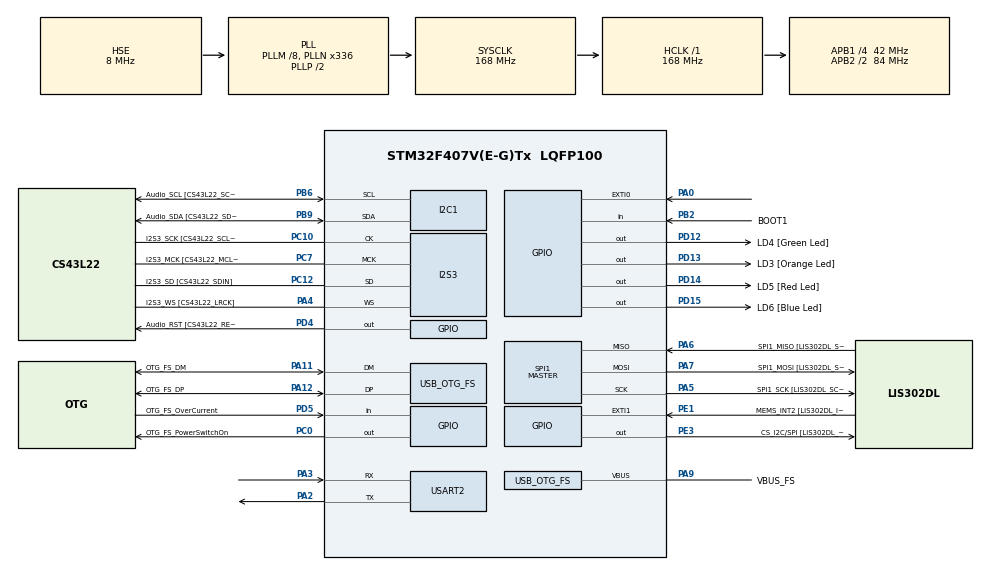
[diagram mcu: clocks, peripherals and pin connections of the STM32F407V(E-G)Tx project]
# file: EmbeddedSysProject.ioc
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I2S3.AudioFreq-Half_Duplex_Master=I2S_AUDIOFREQ_96K
I2S3.ErrorAudioFreq=-2.34 %
I2S3.ErrorAudioFreq-Half_Duplex_Master=0.8 %
I2S3.FullDuplexMode=I2S_FULLDUPLEXMODE_DISABLE
I2S3.Instance=SPI$Index
I2S3.RealAudioFreq=93.75 KHz
I2S3.RealAudioFreq-Half_Duplex_Master=96.774 KHz
I2S3.VirtualMode=I2S_MODE_MASTER
Mcu.Family=STM32F4
Mcu.Name=STM32F407V(E-G)Tx
Mcu.Package=LQFP100
NVIC.EXTI0_IRQn=true\:5\:0\:true\:false\:true\:true\:true\:true
NVIC.OTG_FS_IRQn=true\:0\:0\:false\:false\:true\:true\:true\:true
NVIC.PriorityGroup=NVIC_PRIORITYGROUP_4
NVIC.TimeBase=TIM7_IRQn
NVIC.TimeBaseIP=TIM7
PA0-WKUP.Signal=GPXTI0
PA10.GPIO_Label=OTG_FS_ID
PA10.GPIO_Mode=GPIO_MODE_AF_PP
PA10.GPIO_PuPd=GPIO_NOPULL
PA10.GPIO_Speed=GPIO_SPEED_FREQ_LOW
PA10.Signal=USB_OTG_FS_ID
PA11.GPIO_Label=OTG_FS_DM
PA11.GPIO_Mode=GPIO_MODE_AF_PP
PA11.GPIO_PuPd=GPIO_NOPULL
PA11.GPIO_Speed=GPIO_SPEED_FREQ_LOW
PA11.Mode=Host_Only
PA11.Signal=USB_OTG_FS_DM
PA12.GPIO_Label=OTG_FS_DP
PA12.GPIO_Mode=GPIO_MODE_AF_PP
PA12.GPIO_PuPd=GPIO_NOPULL
PA12.GPIO_Speed=GPIO_SPEED_FREQ_LOW
PA12.Mode=Host_Only
PA12.Signal=USB_OTG_FS_DP
PA13.GPIO_Label=SWDIO
PA13.Signal=SYS_JTMS-SWDIO
PA14.GPIO_Label=SWCLK
PA14.Signal=SYS_JTCK-SWCLK
PA2.Mode=Asynchronous
PA2.Signal=USART2_TX
PA3.Mode=Asynchronous
PA3.Signal=USART2_RX
PA4.GPIO_Label=I2S3_WS [CS43L22_LRCK]
PA4.GPIO_Mode=GPIO_MODE_AF_PP
PA4.GPIO_PuPd=GPIO_NOPULL
PA4.GPIO_Speed=GPIO_SPEED_FREQ_LOW
PA4.Mode=Half_Duplex_Master
PA4.Signal=I2S3_WS
PA5.GPIO_Label=SPI1_SCK [LIS302DL_SCL/SPC]
PA5.GPIO_Mode=GPIO_MODE_AF_PP
PA5.GPIO_PuPd=GPIO_NOPULL
PA5.GPIO_Speed=GPIO_SPEED_FREQ_LOW
PA5.Mode=Full_Duplex_Master
PA5.Signal=SPI1_SCK
PA6.GPIO_Label=SPI1_MISO [LIS302DL_SDO]
PA6.GPIO_Mode=GPIO_MODE_AF_PP
PA6.GPIO_PuPd=GPIO_NOPULL
PA6.GPIO_Speed=GPIO_SPEED_FREQ_LOW
PA6.Mode=Full_Duplex_Master
PA6.Signal=SPI1_MISO
PA7.GPIO_Label=SPI1_MOSI [LIS302DL_SDA/SDI/SDO]
PA7.GPIO_Mode=GPIO_MODE_AF_PP
PA7.GPIO_PuPd=GPIO_NOPULL
PA7.GPIO_Speed=GPIO_SPEED_FREQ_LOW
PA7.Mode=Full_Duplex_Master
PA7.Signal=SPI1_MOSI
PA9.GPIO_Label=VBUS_FS
PA9.GPIO_Mode=GPIO_MODE_INPUT
PA9.GPIO_PuPd=GPIO_NOPULL
PA9.Mode=Activate_VBUS
PA9.Signal=USB_OTG_FS_VBUS
PB10.GPIO_Label=CLK_IN [MP45DT02_CLK]
PB10.GPIO_Mode=GPIO_MODE_AF_PP
PB10.GPIO_PuPd=GPIO_NOPULL
PB10.GPIO_Speed=GPIO_SPEED_FREQ_LOW
PB10.Signal=I2S2_CK
PB2.GPIO_Label=BOOT1
PB2.GPIO_Mode=GPIO_MODE_INPUT
PB2.GPIO_PuPd=GPIO_NOPULL
PB2.Signal=GPIO_Input
PB3.GPIO_Label=SWO
PB3.Signal=SYS_JTDO-SWO
PB6.GPIO_Label=Audio_SCL [CS43L22_SCL]
PB6.GPIO_Mode=GPIO_MODE_AF_OD
PB6.GPIO_Pu=GPIO_PULLUP
PB6.GPIO_PuPd=GPIO_NOPULL
PB6.GPIO_Speed=GPIO_SPEED_FREQ_LOW
PB6.Mode=I2C
PB6.Signal=I2C1_SCL
PB9.GPIO_Label=Audio_SDA [CS43L22_SDA]
PB9.GPIO_Mode=GPIO_MODE_AF_OD
PB9.GPIO_Pu=GPIO_PULLUP
PB9.GPIO_PuPd=GPIO_NOPULL
PB9.GPIO_Speed=GPIO_SPEED_FREQ_LOW
PB9.Mode=I2C
PB9.Signal=I2C1_SDA
PC0.GPIO_Label=OTG_FS_PowerSwitchOn
PC0.GPIO_PuPd=GPIO_NOPULL
PC0.GPIO_Speed=GPIO_SPEED_FREQ_LOW
PC0.PinState=GPIO_PIN_SET
PC0.Signal=GPIO_Output
PC10.GPIO_Label=I2S3_SCK [CS43L22_SCLK]
PC10.GPIO_Mode=GPIO_MODE_AF_PP
PC10.GPIO_PuPd=GPIO_NOPULL
PC10.GPIO_Speed=GPIO_SPEED_FREQ_LOW
PC10.Mode=Half_Duplex_Master
PC10.Signal=I2S3_CK
PC12.GPIO_Label=I2S3_SD [CS43L22_SDIN]
PC12.GPIO_Mode=GPIO_MODE_AF_PP
PC12.GPIO_PuPd=GPIO_NOPULL
PC12.GPIO_Speed=GPIO_SPEED_FREQ_LOW
PC12.Mode=Half_Duplex_Master
PC12.Signal=I2S3_SD
PC14-OSC32_IN.GPIO_Label=PC14-OSC32_IN
PC14-OSC32_IN.Mode=LSE-External-Oscillator
PC14-OSC32_IN.Signal=RCC_OSC32_IN
PC15-OSC32_OUT.GPIO_Label=PC15-OSC32_OUT
PC15-OSC32_OUT.Mode=LSE-External-Oscillator
PC15-OSC32_OUT.Signal=RCC_OSC32_OUT
PC3.GPIO_Label=PDM_OUT [MP45DT02_DOUT]
PC3.GPIO_Mode=GPIO_MODE_AF_PP
PC3.GPIO_PuPd=GPIO_NOPULL
PC3.GPIO_Speed=GPIO_SPEED_FREQ_LOW
PC3.Signal=I2S2_SD
PC7.GPIO_Label=I2S3_MCK [CS43L22_MCLK]
PC7.GPIO_Mode=GPIO_MODE_AF_PP
PC7.GPIO_PuPd=GPIO_NOPULL
PC7.GPIO_Speed=GPIO_SPEED_FREQ_LOW
PC7.Mode=Master_Clock_Activated
PC7.Signal=I2S3_MCK
PD12.GPIO_Label=LD4 [Green Led]
PD12.GPIO_PuPd=GPIO_NOPULL
PD12.GPIO_Speed=GPIO_SPEED_FREQ_LOW
PD12.Signal=GPIO_Output
PD13.GPIO_Label=LD3 [Orange Led]
PD13.GPIO_PuPd=GPIO_NOPULL
PD13.GPIO_Speed=GPIO_SPEED_FREQ_LOW
PD13.Signal=GPIO_Output
PD14.GPIO_Label=LD5 [Red Led]
PD14.GPIO_PuPd=GPIO_NOPULL
PD14.GPIO_Speed=GPIO_SPEED_FREQ_LOW
PD14.Signal=GPIO_Output
PD15.GPIO_Label=LD6 [Blue Led]
PD15.GPIO_PuPd=GPIO_NOPULL
PD15.GPIO_Speed=GPIO_SPEED_FREQ_LOW
PD15.Signal=GPIO_Output
PD4.GPIO_Label=Audio_RST [CS43L22_RESET]
PD4.GPIO_PuPd=GPIO_NOPULL
PD4.GPIO_Speed=GPIO_SPEED_FREQ_LOW
PD4.Signal=GPIO_Output
PD5.GPIO_Label=OTG_FS_OverCurrent
PD5.GPIO_Mode=GPIO_MODE_INPUT
PD5.GPIO_PuPd=GPIO_NOPULL
PD5.Signal=GPIO_Input
PE1.GPIO_Label=MEMS_INT2 [LIS302DL_INT2]
PE1.GPIO_ModeDefaultEXTI=GPIO_MODE_EVT_RISING
PE1.GPIO_PuPd=GPIO_NOPULL
PE1.Signal=GPXTI1
PE3.GPIO_Label=CS_I2C/SPI [LIS302DL_CS_I2C/SPI]
PE3.GPIO_PuPd=GPIO_NOPULL
PE3.GPIO_Speed=GPIO_SPEED_FREQ_LOW
PE3.Signal=GPIO_Output
PH0-OSC_IN.GPIO_Label=PH0-OSC_IN
PH0-OSC_IN.Mode=HSE-External-Oscillator
PH0-OSC_IN.Signal=RCC_OSC_IN
PH1-OSC_OUT.GPIO_Label=PH1-OSC_OUT
PH1-OSC_OUT.Mode=HSE-External-Oscillator
PH1-OSC_OUT.Signal=RCC_OSC_OUT
ProjectManager.HeapSize=0x200
ProjectManager.StackSize=0x400
ProjectManager.TargetToolchain=STM32CubeIDE
RCC.48MHZClocksFreq_Value=48000000
RCC.AHBFreq_Value=168000000
RCC.APB1CLKDivider=RCC_HCLK_DIV4
RCC.APB1Freq_Value=42000000
RCC.APB1TimFreq_Value=84000000
RCC.APB2CLKDivider=RCC_HCLK_DIV2
RCC.APB2Freq_Value=84000000
RCC.APB2TimFreq_Value=168000000
RCC.CortexFreq_Value=168000000
RCC.HCLKFreq_Value=168000000
RCC.HSE_VALUE=8000000
RCC.HSI_VALUE=16000000
RCC.PLLM=8
RCC.PLLN=336
RCC.PLLQ=7
RCC.SYSCLKFreq_VALUE=168000000
RCC.SYSCLKSource=RCC_SYSCLKSOURCE_PLLCLK
RCC.VCOOutputFreq_Value=336000000
SPI1.BaudRatePrescaler-Full_Duplex_Master=SPI_BAUDRATEPRESCALER_2
SPI1.CalculateBaudRate-Full_Duplex_Master=42.0 MBits/s
SPI1.Direction=SPI_DIRECTION_2LINES
SPI1.Mode=SPI_MODE_MASTER
SPI1.Mode-Full_Duplex_Master=SPI_MODE_MASTER
SPI1.VirtualType=VM_MASTER
USART2.VirtualMode=VM_ASYNC
USB_HOST.BSP.number=1
USB_HOST.USBH_HandleTypeDef-CDC_FS=hUsbHostFS
USB_HOST.VirtualModeFS=Cdc
USB_HOST0.BSP.STBoard=false
USB_HOST0.BSP.api=Unknown
USB_HOST0.BSP.instance=PC0
USB_HOST0.BSP.ip=GPIO
USB_HOST0.BSP.mode=Output
USB_HOST0.BSP.name=Drive_VBUS_FS
USB_HOST0.BSP.solution=PC0
USB_OTG_FS.VirtualMode=Host_Only
USB_OTG_FS.phy_itface=HCD_PHY_EMBEDDED
VP_SYS_VS_tim7.Mode=TIM7
VP_USB_HOST_VS_USB_HOST_CDC_FS.Mode=CDC_FS
board=STM32F407G-DISC1

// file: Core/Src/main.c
/* USER CODE BEGIN Header */
/**
  ******************************************************************************
  * @file           : main.c
  * @brief          : Main program body
  ******************************************************************************
  * @attention
  *
  * Copyright (c) 2026 STMicroelectronics.
  * All rights reserved.
  *
  * This software is licensed under terms that can be found in the LICENSE file
  * in the root directory of this software component.
  * If no LICENSE file comes with this software, it is provided AS-IS.
  *
  ******************************************************************************
  */
/* USER CODE END Header */
#include "main.h"
#include "usb_host.h"

/* USER CODE BEGIN Includes */
#include "FreeRTOS.h"
#include "task.h"
/* USER CODE END Includes */

I2C_HandleTypeDef hi2c1;

I2S_HandleTypeDef hi2s3;

SPI_HandleTypeDef hspi1;

UART_HandleTypeDef huart2;

/* USER CODE BEGIN PV */
TaskHandle_t xControlTaskHandle = NULL;
/* USER CODE END PV */

void SystemClock_Config(void);
static void MX_GPIO_Init(void);
static void MX_I2C1_Init(void);
static void MX_I2S3_Init(void);
static void MX_SPI1_Init(void);
static void MX_USART2_UART_Init(void);
void MX_USB_HOST_Process(void);

/* USER CODE BEGIN 0 */
void vControlTask(void *pvParameters);
void DWT_Init(void) {
    /* 1. 啟用 TRCENA (Trace Enable) */
    *(volatile uint32_t *)0xE000EDFC |= (1 << 24);

    /* 2. 將計數器歸零 */
    *(volatile uint32_t *)0xE0001004 = 0;

    /* 3. 啟用 Cycle Counter */
    *(volatile uint32_t *)0xE0001000 |= 1;
}
extern void vSetTaskCustomParams(TaskHandle_t xTask, TickType_t xPeriod, uint32_t ulTickets);
extern void vTaskUpdateDeadline(TaskHandle_t xTask, TickType_t xNextDeadline);
extern volatile uint8_t ucCurrentScheduler;
extern void Taskmonitor(void);
/* 任務參數結構 */
typedef struct {
    TickType_t xPeriod;
    uint32_t ulTickets;
    uint32_t ulWorkload_us; /* 模擬執行的時間 (微秒) */
} TaskParams_t;

TaskParams_t xTaskAParams = { .xPeriod = 10,  .ulTickets = 10,  .ulWorkload_us = 2000 }; // 2ms 工作
TaskParams_t xTaskBParams = { .xPeriod = 50,  .ulTickets = 50,  .ulWorkload_us = 5000 }; // 5ms 工作
TaskParams_t xTaskCParams = { .xPeriod = 100, .ulTickets = 100, .ulWorkload_us = 10000 };// 10ms 工作

/* 通用的測試任務架構 */
void vGenericTestTask(void *pvParameters)
{
    TaskParams_t *pxParams = (TaskParams_t *)pvParameters;
    TaskHandle_t xHandle = xTaskGetCurrentTaskHandle();

    /* 1. 初始化擴展參數 */
    vSetTaskCustomParams(xHandle, pxParams->xPeriod, pxParams->ulTickets);

    TickType_t xLastWakeTime = xTaskGetTickCount();

    for( ;; )
    {
        /* 2. 模擬 CPU 繁重運算 (利用 DWT 計時，不產生 Block，純吃 CPU) */
        uint32_t ulStartCycle = DWT->CYCCNT;
        /* 將微秒轉換為 CPU Cycles (假設 SystemCoreClock 為 168MHz，依您的硬體修改) */
        uint32_t ulTargetCycles = pxParams->ulWorkload_us * (SystemCoreClock / 1000000);

        while( (DWT->CYCCNT - ulStartCycle) < ulTargetCycles )
        {
            __NOP(); // Busy wait
        }

        /* 3. 計算並更新下一次的絕對 Deadline */
        TickType_t xNextDeadline = xLastWakeTime + pxParams->xPeriod;
        vTaskUpdateDeadline(xHandle, xNextDeadline);

        /* 4. 精準延遲並進入 Blocked 狀態 */
        vTaskDelayUntil(&xLastWakeTime, pxParams->xPeriod);
    }
}
/* 在 main.c 上方宣告 */
extern void vRecalculateRMSPriorities( void );
extern void vRebuildEDFTreap( void );

/* 按鈕中斷服務常式 */
void HAL_GPIO_EXTI_Callback(uint16_t GPIO_Pin)
{
    /* 這裡改成 GPIO_PIN_0，也就是 PA0 */
    if( GPIO_Pin == GPIO_PIN_0 )
    {
        BaseType_t xHigherPriorityTaskWoken = pdFALSE;

        if( ( xControlTaskHandle != NULL ) &&
            ( xTaskGetSchedulerState() == taskSCHEDULER_RUNNING ) )
        {
            HAL_NVIC_DisableIRQ(EXTI0_IRQn);
            vTaskNotifyGiveFromISR( xControlTaskHandle, &xHigherPriorityTaskWoken );
            portYIELD_FROM_ISR( xHigherPriorityTaskWoken );
        }
    }
}
void vSystemPrint(const char *pcString)
{
    HAL_UART_Transmit(&huart2, (uint8_t *)pcString, strlen(pcString), HAL_MAX_DELAY);
}
void vMonitorTask(void *pvParameters)
{
    for( ;; )
    {
        /* 呼叫我們實作好的監聽函式 */
        Taskmonitor();

        /* 休息 2 秒鐘 (2000 個 SysTick) */
        vTaskDelay(2000);
    }
}
/* USER CODE END 0 */

int main(void)
{

  /* MCU Configuration--------------------------------------------------------*/

  /* Reset of all peripherals, Initializes the Flash interface and the Systick. */
  HAL_Init();

  /* Configure the system clock */
  SystemClock_Config();

  /* Initialize all configured peripherals */
  MX_GPIO_Init();
  MX_I2C1_Init();
  MX_I2S3_Init();
  MX_SPI1_Init();
  MX_USB_HOST_Init();
  MX_USART2_UART_Init();
  /* USER CODE BEGIN 2 */
  vSystemPrint("\r\n--- System Booting ---\r\n");
  DWT_Init();

    /* 3. 建立測試任務 */
    xTaskCreate(vGenericTestTask, "TaskA", 256, (void *)&xTaskAParams, 2, NULL);
    xTaskCreate(vGenericTestTask, "TaskB", 256, (void *)&xTaskBParams, 2, NULL);
    xTaskCreate(vGenericTestTask, "TaskC", 256, (void *)&xTaskCParams, 2, NULL);
    /* 修改 main.c 的 main() 函式中，建立 Control 任務的優先級 */
    xTaskCreate(vMonitorTask, "Monitor", 256, NULL, 3, NULL);
    xTaskCreate(vControlTask, "Control", 256, NULL, 4, &xControlTaskHandle); // Highest valid priority, handles scheduler switching

    /* 4. 啟動作業系統 */
    vTaskStartScheduler();
  /* USER CODE END 2 */

  /* Infinite loop */
  while (1)
  {
    MX_USB_HOST_Process();

  }
}

void SystemClock_Config(void)
{
  RCC_OscInitTypeDef RCC_OscInitStruct = {0};
  RCC_ClkInitTypeDef RCC_ClkInitStruct = {0};

  /** Configure the main internal regulator output voltage
  */
  __HAL_RCC_PWR_CLK_ENABLE();
  __HAL_PWR_VOLTAGESCALING_CONFIG(PWR_REGULATOR_VOLTAGE_SCALE1);

  /** Initializes the RCC Oscillators according to the specified parameters
  * in the RCC_OscInitTypeDef structure.
  */
  RCC_OscInitStruct.OscillatorType = RCC_OSCILLATORTYPE_HSE;
  RCC_OscInitStruct.HSEState = RCC_HSE_ON;
  RCC_OscInitStruct.PLL.PLLState = RCC_PLL_ON;
  RCC_OscInitStruct.PLL.PLLSource = RCC_PLLSOURCE_HSE;
  RCC_OscInitStruct.PLL.PLLM = 8;
  RCC_OscInitStruct.PLL.PLLN = 336;
  RCC_OscInitStruct.PLL.PLLP = RCC_PLLP_DIV2;
  RCC_OscInitStruct.PLL.PLLQ = 7;
  if (HAL_RCC_OscConfig(&RCC_OscInitStruct) != HAL_OK)
  {
    Error_Handler();
  }

  /** Initializes the CPU, AHB and APB buses clocks
  */
  RCC_ClkInitStruct.ClockType = RCC_CLOCKTYPE_HCLK|RCC_CLOCKTYPE_SYSCLK
                              |RCC_CLOCKTYPE_PCLK1|RCC_CLOCKTYPE_PCLK2;
  RCC_ClkInitStruct.SYSCLKSource = RCC_SYSCLKSOURCE_PLLCLK;
  RCC_ClkInitStruct.AHBCLKDivider = RCC_SYSCLK_DIV1;
  RCC_ClkInitStruct.APB1CLKDivider = RCC_HCLK_DIV4;
  RCC_ClkInitStruct.APB2CLKDivider = RCC_HCLK_DIV2;

  if (HAL_RCC_ClockConfig(&RCC_ClkInitStruct, FLASH_LATENCY_5) != HAL_OK)
  {
    Error_Handler();
  }
}

static void MX_I2C1_Init(void)
{

  hi2c1.Instance = I2C1;
  hi2c1.Init.ClockSpeed = 100000;
  hi2c1.Init.DutyCycle = I2C_DUTYCYCLE_2;
  hi2c1.Init.OwnAddress1 = 0;
  hi2c1.Init.AddressingMode = I2C_ADDRESSINGMODE_7BIT;
  hi2c1.Init.DualAddressMode = I2C_DUALADDRESS_DISABLE;
  hi2c1.Init.OwnAddress2 = 0;
  hi2c1.Init.GeneralCallMode = I2C_GENERALCALL_DISABLE;
  hi2c1.Init.NoStretchMode = I2C_NOSTRETCH_DISABLE;
  if (HAL_I2C_Init(&hi2c1) != HAL_OK)
  {
    Error_Handler();
  }

}

static void MX_I2S3_Init(void)
{

  hi2s3.Instance = SPI3;
  hi2s3.Init.Mode = I2S_MODE_MASTER_TX;
  hi2s3.Init.Standard = I2S_STANDARD_PHILIPS;
  hi2s3.Init.DataFormat = I2S_DATAFORMAT_16B;
  hi2s3.Init.MCLKOutput = I2S_MCLKOUTPUT_ENABLE;
  hi2s3.Init.AudioFreq = I2S_AUDIOFREQ_96K;
  hi2s3.Init.CPOL = I2S_CPOL_LOW;
  hi2s3.Init.ClockSource = I2S_CLOCK_PLL;
  hi2s3.Init.FullDuplexMode = I2S_FULLDUPLEXMODE_DISABLE;
  if (HAL_I2S_Init(&hi2s3) != HAL_OK)
  {
    Error_Handler();
  }

}

static void MX_SPI1_Init(void)
{

  /* SPI1 parameter configuration*/
  hspi1.Instance = SPI1;
  hspi1.Init.Mode = SPI_MODE_MASTER;
  hspi1.Init.Direction = SPI_DIRECTION_2LINES;
  hspi1.Init.DataSize = SPI_DATASIZE_8BIT;
  hspi1.Init.CLKPolarity = SPI_POLARITY_LOW;
  hspi1.Init.CLKPhase = SPI_PHASE_1EDGE;
  hspi1.Init.NSS = SPI_NSS_SOFT;
  hspi1.Init.BaudRatePrescaler = SPI_BAUDRATEPRESCALER_2;
  hspi1.Init.FirstBit = SPI_FIRSTBIT_MSB;
  hspi1.Init.TIMode = SPI_TIMODE_DISABLE;
  hspi1.Init.CRCCalculation = SPI_CRCCALCULATION_DISABLE;
  hspi1.Init.CRCPolynomial = 10;
  if (HAL_SPI_Init(&hspi1) != HAL_OK)
  {
    Error_Handler();
  }

}

static void MX_USART2_UART_Init(void)
{

  huart2.Instance = USART2;
  huart2.Init.BaudRate = 115200;
  huart2.Init.WordLength = UART_WORDLENGTH_8B;
  huart2.Init.StopBits = UART_STOPBITS_1;
  huart2.Init.Parity = UART_PARITY_NONE;
  huart2.Init.Mode = UART_MODE_TX_RX;
  huart2.Init.HwFlowCtl = UART_HWCONTROL_NONE;
  huart2.Init.OverSampling = UART_OVERSAMPLING_16;
  if (HAL_UART_Init(&huart2) != HAL_OK)
  {
    Error_Handler();
  }

}

static void MX_GPIO_Init(void)
{
  GPIO_InitTypeDef GPIO_InitStruct = {0};
/* USER CODE BEGIN MX_GPIO_Init_1 */
  /* STM32F4 的 RCC 底層地址，直接強開 AHB1 匯流排上的 GPIOA (bit 0) 與 GPIOB (bit 1) */
    *(volatile uint32_t *)(0x40023800 + 0x30) |= (1 << 0) | (1 << 1);

    /* 強開 APB2 匯流排上的 SYSCFG (bit 14) */
    *(volatile uint32_t *)(0x40023800 + 0x44) |= (1 << 14);

    /* 加上短暫延遲，確保硬體電位穩定 */
    __asm("nop");
    __asm("nop");
/* USER CODE END MX_GPIO_Init_1 */

  /* GPIO Ports Clock Enable */
  __HAL_RCC_GPIOE_CLK_ENABLE();
  __HAL_RCC_GPIOC_CLK_ENABLE();
  __HAL_RCC_GPIOH_CLK_ENABLE();
  __HAL_RCC_GPIOA_CLK_ENABLE();
  __HAL_RCC_GPIOB_CLK_ENABLE();
  __HAL_RCC_GPIOD_CLK_ENABLE();
  __HAL_RCC_SYSCFG_CLK_ENABLE();
  /*Configure GPIO pin Output Level */
  HAL_GPIO_WritePin(CS_I2C_SPI_GPIO_Port, CS_I2C_SPI_Pin, GPIO_PIN_RESET);

  /*Configure GPIO pin Output Level */
  HAL_GPIO_WritePin(OTG_FS_PowerSwitchOn_GPIO_Port, OTG_FS_PowerSwitchOn_Pin, GPIO_PIN_SET);

  /*Configure GPIO pin Output Level */
  HAL_GPIO_WritePin(GPIOD, LD4_Pin|LD3_Pin|LD5_Pin|LD6_Pin
                          |Audio_RST_Pin, GPIO_PIN_RESET);

  /*Configure GPIO pin : CS_I2C_SPI_Pin */
  GPIO_InitStruct.Pin = CS_I2C_SPI_Pin;
  GPIO_InitStruct.Mode = GPIO_MODE_OUTPUT_PP;
  GPIO_InitStruct.Pull = GPIO_NOPULL;
  GPIO_InitStruct.Speed = GPIO_SPEED_FREQ_LOW;
  HAL_GPIO_Init(CS_I2C_SPI_GPIO_Port, &GPIO_InitStruct);

  /*Configure GPIO pin : OTG_FS_PowerSwitchOn_Pin */
  GPIO_InitStruct.Pin = OTG_FS_PowerSwitchOn_Pin;
  GPIO_InitStruct.Mode = GPIO_MODE_OUTPUT_PP;
  GPIO_InitStruct.Pull = GPIO_NOPULL;
  GPIO_InitStruct.Speed = GPIO_SPEED_FREQ_LOW;
  HAL_GPIO_Init(OTG_FS_PowerSwitchOn_GPIO_Port, &GPIO_InitStruct);

  /*Configure GPIO pin : PDM_OUT_Pin */
  GPIO_InitStruct.Pin = PDM_OUT_Pin;
  GPIO_InitStruct.Mode = GPIO_MODE_AF_PP;
  GPIO_InitStruct.Pull = GPIO_NOPULL;
  GPIO_InitStruct.Speed = GPIO_SPEED_FREQ_LOW;
  GPIO_InitStruct.Alternate = GPIO_AF5_SPI2;
  HAL_GPIO_Init(PDM_OUT_GPIO_Port, &GPIO_InitStruct);

  /*Configure GPIO pin : PA0 */
  GPIO_InitStruct.Pin = GPIO_PIN_0;
  GPIO_InitStruct.Mode = GPIO_MODE_IT_RISING;
  GPIO_InitStruct.Pull = GPIO_PULLDOWN;
  HAL_GPIO_Init(GPIOA, &GPIO_InitStruct);

  /*Configure GPIO pin : BOOT1_Pin */
  GPIO_InitStruct.Pin = BOOT1_Pin;
  GPIO_InitStruct.Mode = GPIO_MODE_INPUT;
  GPIO_InitStruct.Pull = GPIO_NOPULL;
  HAL_GPIO_Init(BOOT1_GPIO_Port, &GPIO_InitStruct);

  /*Configure GPIO pin : CLK_IN_Pin */
  GPIO_InitStruct.Pin = CLK_IN_Pin;
  GPIO_InitStruct.Mode = GPIO_MODE_AF_PP;
  GPIO_InitStruct.Pull = GPIO_NOPULL;
  GPIO_InitStruct.Speed = GPIO_SPEED_FREQ_LOW;
  GPIO_InitStruct.Alternate = GPIO_AF5_SPI2;
  HAL_GPIO_Init(CLK_IN_GPIO_Port, &GPIO_InitStruct);

  /*Configure GPIO pins : LD4_Pin LD3_Pin LD5_Pin LD6_Pin
                           Audio_RST_Pin */
  GPIO_InitStruct.Pin = LD4_Pin|LD3_Pin|LD5_Pin|LD6_Pin
                          |Audio_RST_Pin;
  GPIO_InitStruct.Mode = GPIO_MODE_OUTPUT_PP;
  GPIO_InitStruct.Pull = GPIO_NOPULL;
  GPIO_InitStruct.Speed = GPIO_SPEED_FREQ_LOW;
  HAL_GPIO_Init(GPIOD, &GPIO_InitStruct);

  /*Configure GPIO pin : OTG_FS_OverCurrent_Pin */
  GPIO_InitStruct.Pin = OTG_FS_OverCurrent_Pin;
  GPIO_InitStruct.Mode = GPIO_MODE_INPUT;
  GPIO_InitStruct.Pull = GPIO_NOPULL;
  HAL_GPIO_Init(OTG_FS_OverCurrent_GPIO_Port, &GPIO_InitStruct);

  /*Configure GPIO pin : MEMS_INT2_Pin */
  GPIO_InitStruct.Pin = MEMS_INT2_Pin;
  GPIO_InitStruct.Mode = GPIO_MODE_EVT_RISING;
  GPIO_InitStruct.Pull = GPIO_NOPULL;
  HAL_GPIO_Init(MEMS_INT2_GPIO_Port, &GPIO_InitStruct);

  /* EXTI interrupt init*/
  HAL_NVIC_SetPriority(EXTI0_IRQn, 7, 0);
  HAL_NVIC_EnableIRQ(EXTI0_IRQn);

}

/* USER CODE BEGIN 4 */
void vControlTask(void *pvParameters)
{
    for(;;)
    {
        /* 1. 無窮期等待來自中斷的通知 (Block 狀態，完全不吃 CPU) */
        ulTaskNotifyTake(pdTRUE, portMAX_DELAY);

        vTaskDelay(pdMS_TO_TICKS(50));
        while( HAL_GPIO_ReadPin(GPIOA, GPIO_PIN_0) == GPIO_PIN_SET )
        {
            vTaskDelay(pdMS_TO_TICKS(10));
        }
        vTaskDelay(pdMS_TO_TICKS(100));

        (void) ulTaskNotifyTake(pdTRUE, 0);
        __HAL_GPIO_EXTI_CLEAR_IT(GPIO_PIN_0);
        HAL_NVIC_EnableIRQ(EXTI0_IRQn);

        /* 2. 收到通知後，切換排程器模式 */
        ucCurrentScheduler = (ucCurrentScheduler + 1) % 4;

        /* 3. 在「任務層級」呼叫修改優先級 API，這是絕對安全且合法的！ */
        if( ucCurrentScheduler == 1 ) // SCHEDULER_RMS
        {
            vRecalculateRMSPriorities();
        }
        else if( ucCurrentScheduler == 2 ) // SCHEDULER_EDF
        {
            vRebuildEDFTreap();
        }

        /* 可選：印出當前模式，讓您的終端機畫面更清楚 */
        if(ucCurrentScheduler == 0) vSystemPrint("\r\n[Mode Changed: Default]\r\n");
        else if(ucCurrentScheduler == 1) vSystemPrint("\r\n[Mode Changed: RMS]\r\n");
        else if(ucCurrentScheduler == 2) vSystemPrint("\r\n[Mode Changed: EDF]\r\n");
        else if(ucCurrentScheduler == 3) vSystemPrint("\r\n[Mode Changed: Lottery]\r\n");

    }
}
//void EXTI0_IRQHandler(void)
//{
//    HAL_GPIO_EXTI_IRQHandler(GPIO_PIN_0); // 呼叫 HAL 核心處理器，它會清空 Pending bit 並引導至 Callback
//}
/* USER CODE END 4 */

void HAL_TIM_PeriodElapsedCallback(TIM_HandleTypeDef *htim)
{
  if (htim->Instance == TIM7) {
    HAL_IncTick();
  }
}

void Error_Handler(void)
{
  __disable_irq();
  while (1)
  {
  }
}

/* 在 stm32f4xx_it.c 或 main.c 底部補上 */
extern UART_HandleTypeDef huart2; // 宣告在 main.c 上方的結構體

void USART2_IRQHandler(void)
{
    /* 呼叫 HAL 庫的通用 UART 中斷處理器 */
    /* 它會自動清除傳送完成、接收完成等暫存器旗標，避免重複觸發當機 */
    HAL_UART_IRQHandler(&huart2);
}
